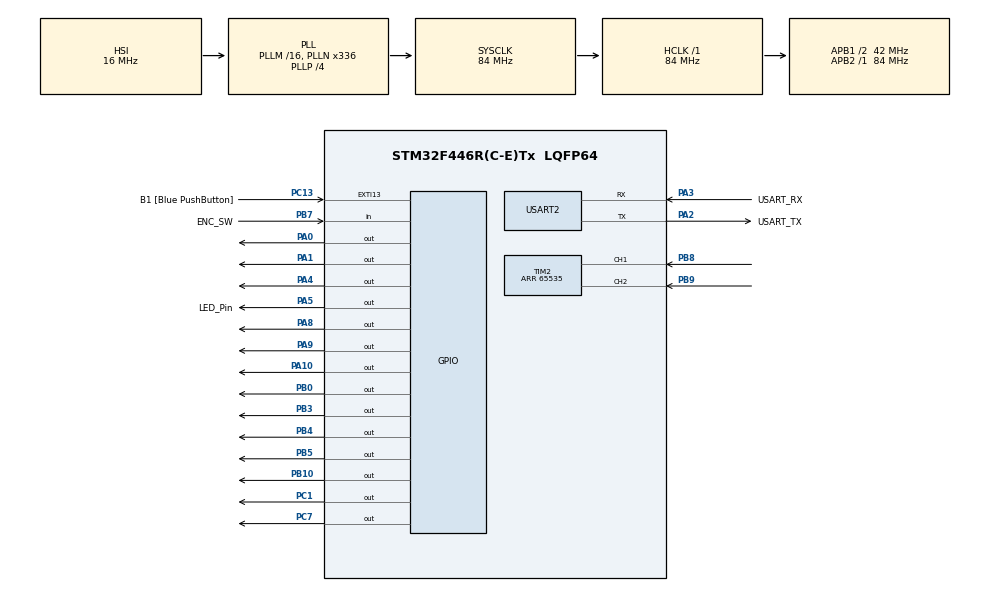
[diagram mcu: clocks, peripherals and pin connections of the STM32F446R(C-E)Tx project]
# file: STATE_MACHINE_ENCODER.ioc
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Mcu.Family=STM32F4
Mcu.Name=STM32F446R(C-E)Tx
Mcu.Package=LQFP64
NVIC.PriorityGroup=NVIC_PRIORITYGROUP_0
PA0-WKUP.Signal=GPIO_Output
PA1.Signal=GPIO_Output
PA10.Signal=GPIO_Output
PA13.GPIO_Label=TMS
PA13.Mode=Serial_Wire
PA13.Signal=SYS_JTMS-SWDIO
PA14.GPIO_Label=TCK
PA14.Mode=Serial_Wire
PA14.Signal=SYS_JTCK-SWCLK
PA2.GPIO_Label=USART_TX
PA2.Mode=Asynchronous
PA2.Signal=USART2_TX
PA3.GPIO_Label=USART_RX
PA3.Mode=Asynchronous
PA3.Signal=USART2_RX
PA4.Signal=GPIO_Output
PA5.GPIO_Label=LED_Pin
PA5.Signal=GPIO_Output
PA8.Signal=GPIO_Output
PA9.Signal=GPIO_Output
PB0.Signal=GPIO_Output
PB10.Signal=GPIO_Output
PB3.Signal=GPIO_Output
PB4.Signal=GPIO_Output
PB5.Signal=GPIO_Output
PB7.GPIO_Label=ENC_SW
PB7.GPIO_PuPd=GPIO_PULLUP
PB7.Signal=GPIO_Input
PB8.Signal=S_TIM2_CH1_ETR
PB9.Signal=S_TIM2_CH2
PC1.Signal=GPIO_Output
PC13.GPIO_Label=B1 [Blue PushButton]
PC13.GPIO_ModeDefaultEXTI=GPIO_MODE_IT_FALLING
PC13.Signal=GPXTI13
PC14-OSC32_IN.Mode=LSE-External-Oscillator
PC14-OSC32_IN.Signal=RCC_OSC32_IN
PC15-OSC32_OUT.Mode=LSE-External-Oscillator
PC15-OSC32_OUT.Signal=RCC_OSC32_OUT
PC7.Signal=GPIO_Output
PH0-OSC_IN.Mode=HSE-External-Oscillator
PH0-OSC_IN.Signal=RCC_OSC_IN
PH1-OSC_OUT.Mode=HSE-External-Oscillator
PH1-OSC_OUT.Signal=RCC_OSC_OUT
ProjectManager.HeapSize=0x200
ProjectManager.StackSize=0x400
ProjectManager.TargetToolchain=STM32CubeIDE
RCC.48MHZClocksFreq_Value=84000000
RCC.AHBFreq_Value=84000000
RCC.APB1CLKDivider=RCC_HCLK_DIV2
RCC.APB1Freq_Value=42000000
RCC.APB1TimFreq_Value=84000000
RCC.APB2Freq_Value=84000000
RCC.APB2TimFreq_Value=84000000
RCC.CortexFreq_Value=84000000
RCC.FLatency-AdvancedSettings=FLASH_LATENCY_2
RCC.HCLKFreq_Value=84000000
RCC.HSE_VALUE=8000000
RCC.HSI_VALUE=16000000
RCC.PLLN=336
RCC.PLLP=RCC_PLLP_DIV4
RCC.SYSCLKFreq_VALUE=84000000
RCC.SYSCLKSource=RCC_SYSCLKSOURCE_PLLCLK
RCC.USBFreq_Value=168000000
RCC.VCOOutputFreq_Value=336000000
SH.S_TIM2_CH1_ETR.0=TIM2_CH1,Encoder_Interface
SH.S_TIM2_CH2.0=TIM2_CH2,Encoder_Interface
TIM1.AutoReloadPreload=TIM_AUTORELOAD_PRELOAD_ENABLE
TIM1.Period=0xFFFF-1
TIM1.Prescaler=84-1
TIM2.EncoderMode=TIM_ENCODERMODE_TI12
TIM2.IC1Filter=10
TIM2.IC2Filter=10
TIM2.Period=65535
USART2.VirtualMode=VM_ASYNC
VP_TIM1_VS_ClockSourceINT.Mode=Internal
board=NUCLEO-F446RE

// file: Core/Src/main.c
/* USER CODE BEGIN Header */
/**
  ******************************************************************************
  * @file           : main.c
  * @brief          : Main program body
  ******************************************************************************
  * @attention
  *
  * Copyright (c) 2026 STMicroelectronics.
  * All rights reserved.
  *
  * This software is licensed under terms that can be found in the LICENSE file
  * in the root directory of this software component.
  * If no LICENSE file comes with this software, it is provided AS-IS.
  *
  ******************************************************************************
  */
/* USER CODE END Header */
#include "main.h"

/* USER CODE BEGIN Includes */
#include "fonts.h" //Biblioteca de fontes para escrita de texto no display
#include "tft.h"  //Biblioteca de funções para controle do display TFT
#include "user_setting.h" //Biblioteca de definições de pinos e configurações do display
#include "screen.h" //Biblioteca de funções para controle das telas da aplicação
#include "encoder.h" //Biblioteca de funções para controle do encoder rotativo
#include "menu.h" //Biblioteca de funções para controle do menu da aplicação
/* USER CODE END Includes */

TIM_HandleTypeDef htim1;
TIM_HandleTypeDef htim2;

UART_HandleTypeDef huart2;

/* USER CODE BEGIN PV */
uint16_t ID=0;

/* USER CODE END PV */

void SystemClock_Config(void);
static void MX_GPIO_Init(void);
static void MX_TIM1_Init(void);
static void MX_USART2_UART_Init(void);
static void MX_TIM2_Init(void);

int main(void)
{

  /* MCU Configuration--------------------------------------------------------*/

  /* Reset of all peripherals, Initializes the Flash interface and the Systick. */
  HAL_Init();

  /* Configure the system clock */
  SystemClock_Config();

  /* Initialize all configured peripherals */
  MX_GPIO_Init();
  MX_TIM1_Init();
  MX_USART2_UART_Init();
  MX_TIM2_Init();
  /* USER CODE BEGIN 2 */
  tft_gpio_init();  // Inicializa os GPIOs usados pelo display TFT
  HAL_TIM_Base_Start(&htim1); // Necessário para os delays em microssegundos usados pelo driver TFT

  ID = tft_readID();  // Lê o ID do display TFT, necessário para a inicialização correta do driver. O ID é lido a partir do pino de reset do display, que é controlado pelo microcontrolador. O valor do ID pode variar dependendo do modelo e fabricante do display TFT utilizado. O driver TFT utiliza esse ID para configurar corretamente os registradores de controle do display e garantir que as funções de desenho e escrita de texto funcionem corretamente.
  HAL_Delay(100);
  tft_init(ID);
  tft_setRotation(0);
  tft_fillScreen(BLACK);
  tft_invertDisplay(0);
  encoder_init();  // Inicializa o timer configurado no modo Encoder Interface para ler o encoder rotativo
  screen_init();  // Inicializa as variáveis e configurações necessárias para o controle das telas da aplicação
  menu_init();   // Inicializa as variáveis e configurações necessárias para o controle do menu da aplicação
  menu_draw();   // Desenha a tela inicial do menu

  /* USER CODE END 2 */

  /* Infinite loop */
  while (1)
  {

    /* USER CODE BEGIN 3 */
	/* Processa máquina de estados */
	menu_event();  // Processa os eventos do menu, como navegação e seleção de opções. Essa função é responsável por verificar o estado atual do menu e executar as ações correspondentes, como mudar para uma nova tela ou atualizar o conteúdo da tela atual.

	/* Pequeno delay */
	HAL_Delay(5); // Adiciona um pequeno delay para evitar que a máquina de estados seja processada muito rapidamente, o que pode causar problemas de desempenho ou instabilidade. O valor do delay pode ser ajustado conforme necessário para garantir uma resposta rápida e suave da interface do usuário, sem sobrecarregar o microcontrolador ou causar atrasos perceptíveis na interação com o menu.
  }
  /* USER CODE END 3 */
}

void SystemClock_Config(void)
{
  RCC_OscInitTypeDef RCC_OscInitStruct = {0};
  RCC_ClkInitTypeDef RCC_ClkInitStruct = {0};

  /** Configure the main internal regulator output voltage
  */
  __HAL_RCC_PWR_CLK_ENABLE();
  __HAL_PWR_VOLTAGESCALING_CONFIG(PWR_REGULATOR_VOLTAGE_SCALE3);

  /** Initializes the RCC Oscillators according to the specified parameters
  * in the RCC_OscInitTypeDef structure.
  */
  RCC_OscInitStruct.OscillatorType = RCC_OSCILLATORTYPE_HSI;
  RCC_OscInitStruct.HSIState = RCC_HSI_ON;
  RCC_OscInitStruct.HSICalibrationValue = RCC_HSICALIBRATION_DEFAULT;
  RCC_OscInitStruct.PLL.PLLState = RCC_PLL_ON;
  RCC_OscInitStruct.PLL.PLLSource = RCC_PLLSOURCE_HSI;
  RCC_OscInitStruct.PLL.PLLM = 16;
  RCC_OscInitStruct.PLL.PLLN = 336;
  RCC_OscInitStruct.PLL.PLLP = RCC_PLLP_DIV4;
  RCC_OscInitStruct.PLL.PLLQ = 2;
  RCC_OscInitStruct.PLL.PLLR = 2;
  if (HAL_RCC_OscConfig(&RCC_OscInitStruct) != HAL_OK)
  {
    Error_Handler();
  }

  /** Initializes the CPU, AHB and APB buses clocks
  */
  RCC_ClkInitStruct.ClockType = RCC_CLOCKTYPE_HCLK|RCC_CLOCKTYPE_SYSCLK
                              |RCC_CLOCKTYPE_PCLK1|RCC_CLOCKTYPE_PCLK2;
  RCC_ClkInitStruct.SYSCLKSource = RCC_SYSCLKSOURCE_PLLCLK;
  RCC_ClkInitStruct.AHBCLKDivider = RCC_SYSCLK_DIV1;
  RCC_ClkInitStruct.APB1CLKDivider = RCC_HCLK_DIV2;
  RCC_ClkInitStruct.APB2CLKDivider = RCC_HCLK_DIV1;

  if (HAL_RCC_ClockConfig(&RCC_ClkInitStruct, FLASH_LATENCY_2) != HAL_OK)
  {
    Error_Handler();
  }
}

static void MX_TIM1_Init(void)
{

  TIM_ClockConfigTypeDef sClockSourceConfig = {0};
  TIM_MasterConfigTypeDef sMasterConfig = {0};

  htim1.Instance = TIM1;
  htim1.Init.Prescaler = 84-1;
  htim1.Init.CounterMode = TIM_COUNTERMODE_UP;
  htim1.Init.Period = 0xFFFF-1;
  htim1.Init.ClockDivision = TIM_CLOCKDIVISION_DIV1;
  htim1.Init.RepetitionCounter = 0;
  htim1.Init.AutoReloadPreload = TIM_AUTORELOAD_PRELOAD_ENABLE;
  if (HAL_TIM_Base_Init(&htim1) != HAL_OK)
  {
    Error_Handler();
  }
  sClockSourceConfig.ClockSource = TIM_CLOCKSOURCE_INTERNAL;
  if (HAL_TIM_ConfigClockSource(&htim1, &sClockSourceConfig) != HAL_OK)
  {
    Error_Handler();
  }
  sMasterConfig.MasterOutputTrigger = TIM_TRGO_RESET;
  sMasterConfig.MasterSlaveMode = TIM_MASTERSLAVEMODE_DISABLE;
  if (HAL_TIMEx_MasterConfigSynchronization(&htim1, &sMasterConfig) != HAL_OK)
  {
    Error_Handler();
  }

}

static void MX_TIM2_Init(void)
{

  TIM_Encoder_InitTypeDef sConfig = {0};
  TIM_MasterConfigTypeDef sMasterConfig = {0};

  htim2.Instance = TIM2;
  htim2.Init.Prescaler = 0;
  htim2.Init.CounterMode = TIM_COUNTERMODE_UP;
  htim2.Init.Period = 65535;
  htim2.Init.ClockDivision = TIM_CLOCKDIVISION_DIV1;
  htim2.Init.AutoReloadPreload = TIM_AUTORELOAD_PRELOAD_DISABLE;
  sConfig.EncoderMode = TIM_ENCODERMODE_TI12;
  sConfig.IC1Polarity = TIM_ICPOLARITY_RISING;
  sConfig.IC1Selection = TIM_ICSELECTION_DIRECTTI;
  sConfig.IC1Prescaler = TIM_ICPSC_DIV1;
  sConfig.IC1Filter = 10;
  sConfig.IC2Polarity = TIM_ICPOLARITY_RISING;
  sConfig.IC2Selection = TIM_ICSELECTION_DIRECTTI;
  sConfig.IC2Prescaler = TIM_ICPSC_DIV1;
  sConfig.IC2Filter = 10;
  if (HAL_TIM_Encoder_Init(&htim2, &sConfig) != HAL_OK)
  {
    Error_Handler();
  }
  sMasterConfig.MasterOutputTrigger = TIM_TRGO_RESET;
  sMasterConfig.MasterSlaveMode = TIM_MASTERSLAVEMODE_DISABLE;
  if (HAL_TIMEx_MasterConfigSynchronization(&htim2, &sMasterConfig) != HAL_OK)
  {
    Error_Handler();
  }

}

static void MX_USART2_UART_Init(void)
{

  huart2.Instance = USART2;
  huart2.Init.BaudRate = 115200;
  huart2.Init.WordLength = UART_WORDLENGTH_8B;
  huart2.Init.StopBits = UART_STOPBITS_1;
  huart2.Init.Parity = UART_PARITY_NONE;
  huart2.Init.Mode = UART_MODE_TX_RX;
  huart2.Init.HwFlowCtl = UART_HWCONTROL_NONE;
  huart2.Init.OverSampling = UART_OVERSAMPLING_16;
  if (HAL_UART_Init(&huart2) != HAL_OK)
  {
    Error_Handler();
  }

}

static void MX_GPIO_Init(void)
{
  GPIO_InitTypeDef GPIO_InitStruct = {0};

  /* GPIO Ports Clock Enable */
  __HAL_RCC_GPIOC_CLK_ENABLE();
  __HAL_RCC_GPIOH_CLK_ENABLE();
  __HAL_RCC_GPIOA_CLK_ENABLE();
  __HAL_RCC_GPIOB_CLK_ENABLE();

  /*Configure GPIO pin Output Level */
  HAL_GPIO_WritePin(GPIOC, GPIO_PIN_1|GPIO_PIN_7, GPIO_PIN_RESET);

  /*Configure GPIO pin Output Level */
  HAL_GPIO_WritePin(GPIOA, GPIO_PIN_0|GPIO_PIN_1|GPIO_PIN_4|LED_Pin_Pin
                          |GPIO_PIN_8|GPIO_PIN_9|GPIO_PIN_10, GPIO_PIN_RESET);

  /*Configure GPIO pin Output Level */
  HAL_GPIO_WritePin(GPIOB, GPIO_PIN_0|GPIO_PIN_10|GPIO_PIN_3|GPIO_PIN_4
                          |GPIO_PIN_5, GPIO_PIN_RESET);

  /*Configure GPIO pin : B1_Pin */
  GPIO_InitStruct.Pin = B1_Pin;
  GPIO_InitStruct.Mode = GPIO_MODE_IT_FALLING;
  GPIO_InitStruct.Pull = GPIO_NOPULL;
  HAL_GPIO_Init(B1_GPIO_Port, &GPIO_InitStruct);

  /*Configure GPIO pins : PC1 PC7 */
  GPIO_InitStruct.Pin = GPIO_PIN_1|GPIO_PIN_7;
  GPIO_InitStruct.Mode = GPIO_MODE_OUTPUT_PP;
  GPIO_InitStruct.Pull = GPIO_NOPULL;
  GPIO_InitStruct.Speed = GPIO_SPEED_FREQ_LOW;
  HAL_GPIO_Init(GPIOC, &GPIO_InitStruct);

  /*Configure GPIO pins : PA0 PA1 PA4 LED_Pin_Pin
                           PA8 PA9 PA10 */
  GPIO_InitStruct.Pin = GPIO_PIN_0|GPIO_PIN_1|GPIO_PIN_4|LED_Pin_Pin
                          |GPIO_PIN_8|GPIO_PIN_9|GPIO_PIN_10;
  GPIO_InitStruct.Mode = GPIO_MODE_OUTPUT_PP;
  GPIO_InitStruct.Pull = GPIO_NOPULL;
  GPIO_InitStruct.Speed = GPIO_SPEED_FREQ_LOW;
  HAL_GPIO_Init(GPIOA, &GPIO_InitStruct);

  /*Configure GPIO pins : PB0 PB10 PB3 PB4
                           PB5 */
  GPIO_InitStruct.Pin = GPIO_PIN_0|GPIO_PIN_10|GPIO_PIN_3|GPIO_PIN_4
                          |GPIO_PIN_5;
  GPIO_InitStruct.Mode = GPIO_MODE_OUTPUT_PP;
  GPIO_InitStruct.Pull = GPIO_NOPULL;
  GPIO_InitStruct.Speed = GPIO_SPEED_FREQ_LOW;
  HAL_GPIO_Init(GPIOB, &GPIO_InitStruct);

  /*Configure GPIO pin : ENC_SW_Pin */
  GPIO_InitStruct.Pin = ENC_SW_Pin;
  GPIO_InitStruct.Mode = GPIO_MODE_INPUT;
  GPIO_InitStruct.Pull = GPIO_PULLUP;
  HAL_GPIO_Init(ENC_SW_GPIO_Port, &GPIO_InitStruct);

}

void Error_Handler(void)
{
  __disable_irq();
  while (1)
  {
  }
}
